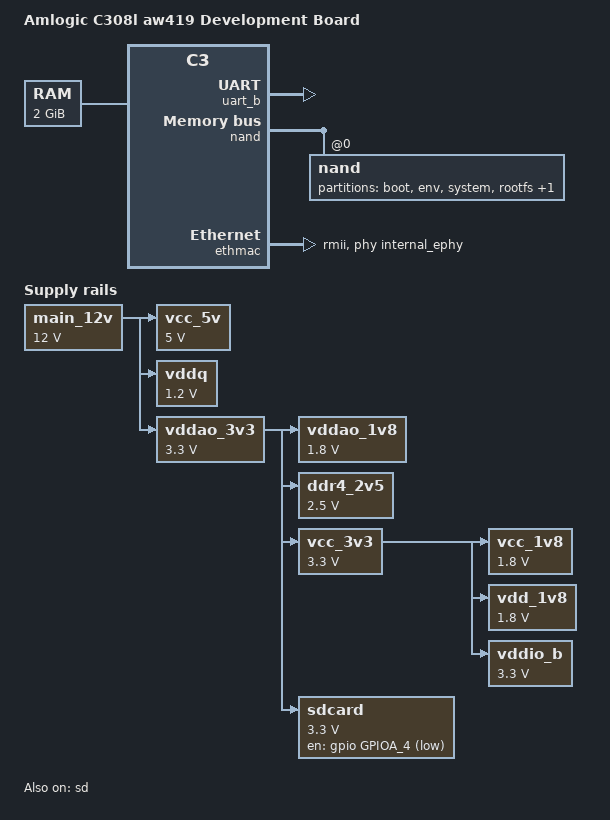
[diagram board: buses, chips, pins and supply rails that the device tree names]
// SPDX-License-Identifier: (GPL-2.0+ OR MIT)
/*
 * Copyright (c) 2024 Amlogic, Inc. All rights reserved.
 */

/dts-v1/;

#include "amlogic-c3.dtsi"

/ {
	model = "Amlogic C308l aw419 Development Board";
	compatible = "amlogic,aw419", "amlogic,c3";
	interrupt-parent = <&gic>;
	#address-cells = <2>;
	#size-cells = <2>;

	aliases {
		serial0 = &uart_b;
		spi0 = &spifc;
	};

	memory@0 {
		device_type = "memory";
		reg = <0x0 0x0 0x0 0x80000000>;
	};

	reserved-memory {
		#address-cells = <2>;
		#size-cells = <2>;
		ranges;

		/* 9 MiB reserved for ARM Trusted Firmware */
		secmon_reserved: secmon@7f00000 {
			compatible = "shared-dma-pool";
			reg = <0x0 0x07f00000 0x0 0x900000>;
			no-map;
		};
	};

	main_12v: regulator-main-12v {
		compatible = "regulator-fixed";
		regulator-name = "12V";
		regulator-min-microvolt = <12000000>;
		regulator-max-microvolt = <12000000>;
		regulator-boot-on;
		regulator-always-on;
	};

	vcc_5v: regulator-vcc-5v {
		compatible = "regulator-fixed";
		regulator-name = "VCC5V";
		regulator-min-microvolt = <5000000>;
		regulator-max-microvolt = <5000000>;
		vin-supply = <&main_12v>;
		regulator-boot-on;
		regulator-always-on;
	};

	vddq: regulator-vddq {
		compatible = "regulator-fixed";
		regulator-name = "VDDQ";
		regulator-min-microvolt = <1200000>;
		regulator-max-microvolt = <1200000>;
		vin-supply = <&main_12v>;
		regulator-boot-on;
		regulator-always-on;
	};

	vddao_3v3: regulator-vddao-3v3 {
		compatible = "regulator-fixed";
		regulator-name = "VDDAO3V3";
		regulator-min-microvolt = <3300000>;
		regulator-max-microvolt = <3300000>;
		vin-supply = <&main_12v>;
		regulator-boot-on;
		regulator-always-on;
	};

	vddao_1v8: regulator-vddao-1v8 {
		compatible = "regulator-fixed";
		regulator-name = "VDDAO1V8";
		regulator-min-microvolt = <1800000>;
		regulator-max-microvolt = <1800000>;
		vin-supply = <&vddao_3v3>;
		regulator-boot-on;
		regulator-always-on;
	};

	ddr4_2v5: regulator-ddr4-2v5 {
		compatible = "regulator-fixed";
		regulator-name = "DDR4_2V5";
		regulator-min-microvolt = <2500000>;
		regulator-max-microvolt = <2500000>;
		vin-supply = <&vddao_3v3>;
		regulator-boot-on;
		regulator-always-on;
	};

	vcc_3v3: regulator-vcc-3v3 {
		compatible = "regulator-fixed";
		regulator-name = "VCC3V3";
		regulator-min-microvolt = <3300000>;
		regulator-max-microvolt = <3300000>;
		vin-supply = <&vddao_3v3>;
		regulator-boot-on;
		regulator-always-on;
	};

	vcc_1v8: regulator-vcc-1v8 {
		compatible = "regulator-fixed";
		regulator-name = "VCC1V8";
		regulator-min-microvolt = <1800000>;
		regulator-max-microvolt = <1800000>;
		vin-supply = <&vcc_3v3>;
		regulator-boot-on;
		regulator-always-on;
	};

	vdd_1v8: regulator-vdd-1v8 {
		compatible = "regulator-fixed";
		regulator-name = "VDD1V8_BOOT";
		regulator-min-microvolt = <1800000>;
		regulator-max-microvolt = <1800000>;
		vin-supply = <&vcc_3v3>;
		regulator-boot-on;
		regulator-always-on;
	};

	vddio_b: regulator-vddio-3v3-b {
		compatible = "regulator-fixed";
		regulator-name = "VDDIO_B";
		regulator-min-microvolt = <3300000>;
		regulator-max-microvolt = <3300000>;
		vin-supply = <&vcc_3v3>;
		regulator-boot-on;
		regulator-always-on;
	};

	sdcard: regulator-sdcard {
		compatible = "regulator-fixed";
		regulator-name = "SDCARD_POWER";
		regulator-min-microvolt = <3300000>;
		regulator-max-microvolt = <3300000>;
		vin-supply = <&vddao_3v3>;
		gpio = <&gpio GPIOA_4 GPIO_ACTIVE_LOW>;
		regulator-boot-on;
		regulator-always-on;
	};
};

&uart_b {
	status = "okay";
};

&nand {
	status = "okay";
	#address-cells = <1>;
	#size-cells = <0>;

	pinctrl-0 = <&nand_pins>;
	pinctrl-names = "default";

	nand@0 {
		reg = <0>;
		#address-cells = <1>;
		#size-cells = <1>;
		nand-on-flash-bbt;

		partition@0 {
			label = "boot";
			reg = <0x0 0x00200000>;
		};
		partition@200000 {
			label = "env";
			reg = <0x00200000 0x00400000>;
		};
		partition@600000 {
			label = "system";
			reg = <0x00600000 0x00a00000>;
		};
		partition@1000000 {
			label = "rootfs";
			reg = <0x01000000 0x03000000>;
		};
		partition@4000000 {
			label = "media";
			reg = <0x04000000 0x8000000>;
		};
	};
};

&ethmac {
	status = "okay";
	phy-handle = <&internal_ephy>;
	phy-mode = "rmii";
};

&spifc {
	#address-cells = <1>;
	#size-cells = <0>;

	pinctrl-0 = <&spifc_pins>;
	pinctrl-names = "default";

	nand@0 {
		compatible = "spi-nand";
		reg = <0>;
		spi-max-frequency = <83000000>;
		spi-tx-bus-width = <4>;
		spi-rx-bus-width = <4>;
		status = "disabled";

		partitions {
			compatible = "fixed-partitions";
			#address-cells = <1>;
			#size-cells = <1>;

			partition@0 {
				label = "boot";
				reg = <0 0x200000>;
			};

			partition@200000 {
				label = "env";
				reg = <0x200000 0x400000>;
			};

			partition@600000 {
				label = "system";
				reg = <0x600000 0xa00000>;
			};

			partition@1000000 {
				label = "rootfs";
				reg = <0x1000000 0x3000000>;
			};

			partition@4000000 {
				label = "data";
				reg = <0x4000000 0x8000000>;
			};
		};
	};
};

&sd {
	status = "okay";
	pinctrl-0 = <&sdcard_pins>;
	pinctrl-1 = <&sdcard_clk_gate_pins>;
	pinctrl-names = "default","clk-gate";

	bus-width = <4>;
	cap-sd-highspeed;
	max-frequency = <50000000>;
	disable-wp;

	cd-gpios = <&gpio GPIOC_6 GPIO_ACTIVE_LOW>;
	vmmc-supply = <&sdcard>;
	vqmmc-supply = <&sdcard>;
};
